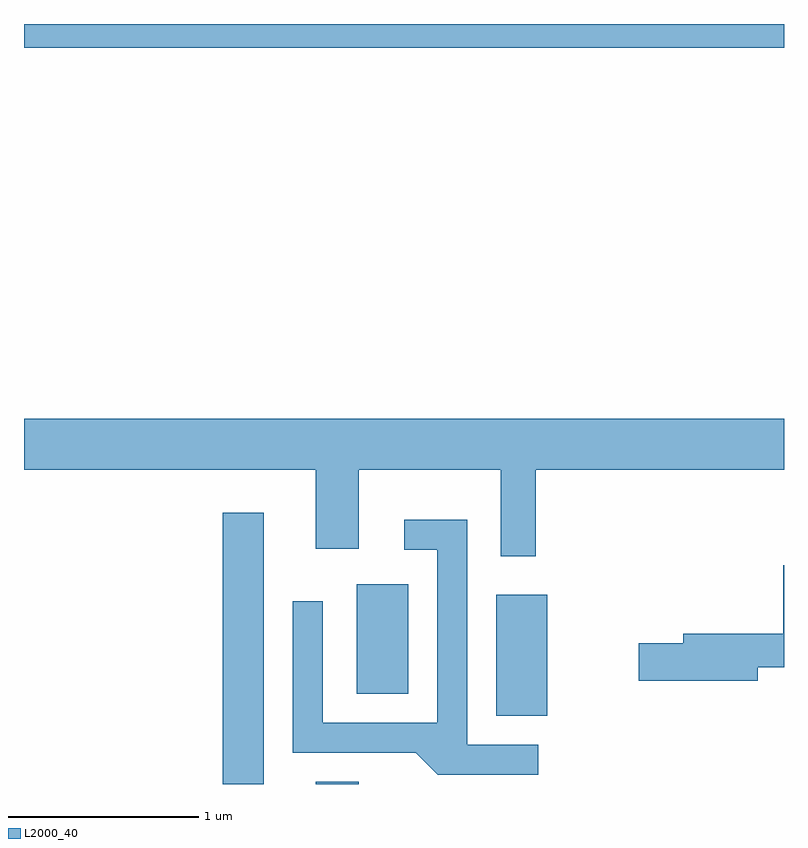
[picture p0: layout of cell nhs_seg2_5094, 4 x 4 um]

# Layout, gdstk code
import gdstk
lib = gdstk.Library(unit=1e-6, precision=1e-09)
def R(c, l, rs):  # rectangles x0, y0, x1, y1
    for r in rs: c.add(gdstk.rectangle(r[:2], r[2:], *l))
def P(c, l, *ps):  # polygons
    for p in ps: c.add(gdstk.Polygon(p, *l))
L2000_40 = (2000, 40)

nhs_seg2_5094 = lib.new_cell('nhs_seg2_5094')
R(nhs_seg2_5094, L2000_40, [(336.656,1017.802,336.874,1019.229), (337.146,1017.802,337.374,1017.814), (338.096,1018.161,338.364,1018.799), (337.361,1018.276,337.634,1018.854), (335.611,1021.676,339.611,1021.802)])
P(nhs_seg2_5094, L2000_40, [(338.304,1019.456),(339.611,1019.456),(339.611,1019.724),(335.611,1019.724),(335.611,1019.456),(337.146,1019.456),(337.146,1019.041),(337.374,1019.041),(337.374,1019.456),(338.121,1019.456),(338.121,1019.001),(338.304,1019.001)],
  [(338.318,1018.009),(337.944,1018.009),(337.944,1019.194),(337.613,1019.194),(337.613,1019.036),(337.786,1019.036),(337.786,1018.124),(337.184,1018.124),(337.184,1018.763),(337.026,1018.763),(337.026,1017.966),(337.674,1017.966),(337.789,1017.851),(338.318,1017.851)],
  [(339.474,1018.416),(339.611,1018.416),(339.611,1018.954),(339.606,1018.954),(339.606,1018.594),(339.081,1018.594),(339.081,1018.544),(338.846,1018.544),(338.846,1018.346),(339.474,1018.346)])

lib.write_gds('nhs_seg2_5094.gds')
